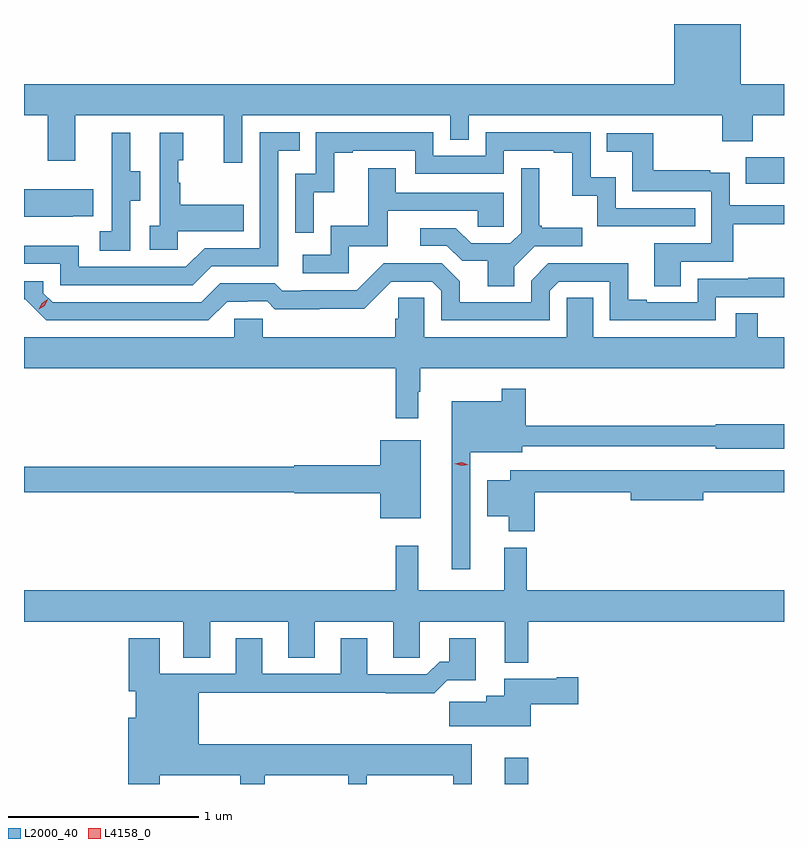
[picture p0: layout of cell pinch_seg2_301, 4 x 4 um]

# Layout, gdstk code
import gdstk
lib = gdstk.Library(unit=1e-6, precision=1e-09)
def R(c, l, rs):  # rectangles x0, y0, x1, y1
    for r in rs: c.add(gdstk.rectangle(r[:2], r[2:], *l))
def P(c, l, *ps):  # polygons
    for p in ps: c.add(gdstk.Polygon(p, *l))
L2000_40 = (2000, 40)
L4158_0 = (4158, 0)

pinch_seg2_301 = lib.new_cell('pinch_seg2_301')
R(pinch_seg2_301, L2000_40, [(947.453,632.129,947.575,632.266), (948.721,635.288,948.922,635.428)])
P(pinch_seg2_301, L2000_40, [(946.071,635.648),(947.166,635.648),(947.166,635.521),(947.262,635.521),(947.262,635.648),(948.598,635.648),(948.598,635.513),(948.758,635.513),(948.758,635.648),(948.922,635.648),(948.922,635.812),(948.694,635.812),(948.694,636.129),(948.344,636.129),(948.344,635.812),(944.922,635.812),(944.922,635.648),(945.046,635.648),(945.046,635.409),(945.193,635.409),(945.193,635.648),(945.974,635.648),(945.974,635.4),(946.071,635.4)],
  [(946.446,635.243),(946.556,635.243),(946.556,635.451),(946.651,635.451),(946.651,635.463),(946.98,635.463),(946.98,635.34),(947.448,635.34),(947.448,635.463),(947.711,635.463),(947.711,635.451),(947.807,635.451),(947.807,635.225),(947.94,635.225),(947.94,635.064),(948.455,635.064),(948.455,635.16),(948.036,635.16),(948.036,635.323),(947.904,635.323),(947.904,635.559),(947.352,635.559),(947.352,635.436),(947.076,635.436),(947.076,635.559),(946.458,635.559),(946.458,635.34),(946.35,635.34),(946.35,635.031),(946.446,635.031)],
  [(945.91,634.854),(946.26,634.854),(946.26,635.463),(946.373,635.463),(946.373,635.559),(946.164,635.559),(946.164,634.95),(945.873,634.95),(945.774,634.851),(945.21,634.851),(945.21,634.963),(944.922,634.963),(944.922,634.866),(945.114,634.866),(945.114,634.755),(945.811,634.755)],
  [(945.48,635.2),(945.535,635.2),(945.535,635.355),(945.481,635.355),(945.481,635.557),(945.383,635.557),(945.383,635.343),(945.384,635.343),(945.384,635.039),(945.321,635.039),(945.321,634.936),(945.48,634.936)],
  [(945.732,635.039),(946.079,635.039),(946.079,635.179),(945.745,635.179),(945.745,635.294),(945.735,635.294),(945.735,635.412),(945.76,635.412),(945.76,635.557),(945.636,635.557),(945.636,635.066),(945.585,635.066),(945.585,634.941),(945.732,634.941)],
  [(948.379,634.878),(948.656,634.878),(948.656,635.074),(948.922,635.074),(948.922,635.175),(948.636,635.175),(948.636,635.347),(948.533,635.347),(948.533,635.359),(948.235,635.359),(948.235,635.553),(947.989,635.553),(947.989,635.456),(948.124,635.456),(948.124,635.25),(948.54,635.25),(948.54,634.974),(948.239,634.974),(948.239,634.75),(948.379,634.75)],
  [(947.503,634.852),(947.61,634.959),(947.86,634.959),(947.86,635.056),(947.647,635.056),(947.647,635.068),(947.635,635.068),(947.635,635.371),(947.538,635.371),(947.538,635.031),(947.481,634.974),(947.275,634.974),(947.194,635.055),(947.007,635.055),(947.007,634.962),(947.148,634.962),(947.228,634.882),(947.363,634.882),(947.363,634.75),(947.503,634.75)],
  [(946.632,634.959),(946.837,634.959),(946.837,635.145),(947.311,635.145),(947.311,635.061),(947.448,635.061),(947.448,635.241),(946.879,635.241),(946.879,635.371),(946.735,635.371),(946.735,635.068),(946.536,635.068),(946.536,634.914),(946.389,634.914),(946.389,634.818),(946.632,634.818)],
  [(945.179,635.117),(945.287,635.117),(945.287,635.26),(944.922,635.26),(944.922,635.114),(945.179,635.114)],
  [(945.991,634.668),(946.098,634.668),(946.098,634.671),(946.201,634.671),(946.243,634.629),(946.476,634.629),(946.476,634.631),(946.712,634.631),(946.854,634.773),(947.07,634.773),(947.118,634.725),(947.118,634.569),(947.688,634.569),(947.688,634.725),(947.736,634.773),(948.006,634.773),(948.006,634.569),(948.564,634.569),(948.564,634.692),(948.922,634.692),(948.922,634.793),(948.733,634.793),(948.733,634.788),(948.468,634.788),(948.468,634.665),(948.199,634.665),(948.199,634.678),(948.103,634.678),(948.103,634.871),(947.898,634.871),(947.898,634.869),(947.682,634.869),(947.592,634.779),(947.592,634.665),(947.215,634.665),(947.215,634.775),(947.121,634.869),(946.815,634.869),(946.674,634.728),(946.381,634.728),(946.381,634.725),(946.282,634.725),(946.243,634.764),(945.954,634.764),(945.855,634.665),(945.072,634.665),(945.024,634.713),(945.024,634.776),(944.922,634.776),(944.922,634.68),(944.928,634.68),(945.039,634.569),(945.892,634.569)],
  [(946.996,634.193),(947.008,634.193),(947.008,634.316),(948.922,634.316),(948.922,634.48),(948.785,634.48),(948.785,634.607),(948.669,634.607),(948.669,634.48),(947.917,634.48),(947.917,634.688),(947.778,634.688),(947.778,634.48),(947.028,634.48),(947.028,634.688),(946.891,634.688),(946.891,634.578),(946.877,634.578),(946.877,634.48),(946.179,634.48),(946.179,634.578),(946.029,634.578),(946.029,634.48),(944.922,634.48),(944.922,634.316),(946.879,634.316),(946.879,634.053),(946.996,634.053)],
  [(947.271,633.875),(947.545,633.875),(947.545,633.906),(948.564,633.906),(948.564,633.893),(948.922,633.893),(948.922,634.023),(948.564,634.023),(948.564,634.015),(947.564,634.015),(947.564,634.21),(947.436,634.21),(947.436,634.144),(947.174,634.144),(947.174,633.258),(947.271,633.258)],
  [(947.011,633.937),(946.796,633.937),(946.796,633.806),(946.344,633.806),(946.344,633.8),(944.922,633.8),(944.922,633.664),(946.344,633.664),(946.344,633.659),(946.796,633.659),(946.796,633.527),(947.011,633.527)],
  [(947.609,633.664),(948.116,633.664),(948.116,633.622),(948.496,633.622),(948.496,633.664),(948.922,633.664),(948.922,633.78),(947.48,633.78),(947.48,633.727),(947.36,633.727),(947.36,633.539),(947.474,633.539),(947.474,633.458),(947.609,633.458)],
  [(947.575,632.984),(948.922,632.984),(948.922,633.148),(947.567,633.148),(947.567,633.373),(947.45,633.373),(947.45,633.148),(946.997,633.148),(946.997,633.382),(946.879,633.382),(946.879,633.148),(944.922,633.148),(944.922,632.984),(945.761,632.984),(945.761,632.794),(945.901,632.794),(945.901,632.984),(946.313,632.984),(946.313,632.794),(946.453,632.794),(946.453,632.984),(946.865,632.984),(946.865,632.794),(947.004,632.794),(947.004,632.984),(947.453,632.984),(947.453,632.768),(947.575,632.768)],
  [(945.637,632.174),(946.061,632.174),(946.061,632.129),(946.189,632.129),(946.189,632.174),(946.628,632.174),(946.628,632.129),(946.726,632.129),(946.726,632.174),(947.18,632.174),(947.18,632.129),(947.278,632.129),(947.278,632.338),(945.841,632.338),(945.841,632.608),(946.825,632.608),(946.825,632.606),(947.081,632.606),(947.15,632.675),(947.299,632.675),(947.299,632.896),(947.159,632.896),(947.159,632.773),(947.11,632.773),(947.043,632.706),(946.729,632.706),(946.729,632.896),(946.589,632.896),(946.589,632.709),(946.177,632.709),(946.177,632.896),(946.037,632.896),(946.037,632.709),(945.637,632.709),(945.637,632.896),(945.473,632.896),(945.473,632.616),(945.509,632.616),(945.509,632.479),(945.47,632.479),(945.47,632.129),(945.637,632.129)],
  [(947.59,632.549),(947.839,632.549),(947.839,632.691),(947.726,632.691),(947.726,632.683),(947.45,632.683),(947.45,632.593),(947.354,632.593),(947.354,632.561),(947.16,632.561),(947.16,632.432),(947.59,632.432)])
P(pinch_seg2_301, L4158_0, [(947.224,633.803),(947.19,633.815),(947.189,633.815),(947.19,633.815),(947.226,633.822),(947.261,633.81),(947.261,633.81),(947.261,633.81)],
  [(945,634.628),(945,634.628),(945.016,634.66),(945.047,634.68),(945.047,634.68),(945.047,634.679),(945.031,634.647),(945,634.628)])

lib.write_gds('pinch_seg2_301.gds')
